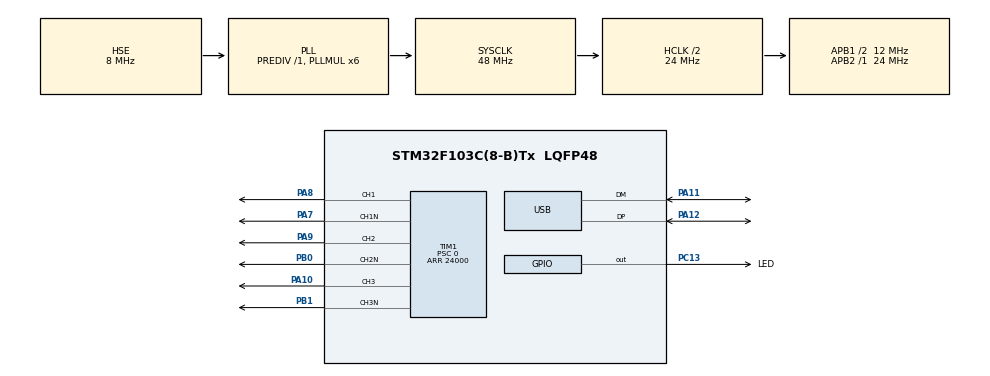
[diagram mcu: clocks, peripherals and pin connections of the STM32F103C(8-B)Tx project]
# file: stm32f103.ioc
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Mcu.Family=STM32F1
Mcu.Name=STM32F103C(8-B)Tx
Mcu.Package=LQFP48
NVIC.PriorityGroup=NVIC_PRIORITYGROUP_4
NVIC.USB_LP_CAN1_RX0_IRQn=true\:0\:0\:false\:false\:true\:false\:true
PA10.GPIO_Speed=GPIO_SPEED_FREQ_HIGH
PA10.Signal=S_TIM1_CH3
PA11.Mode=Device
PA11.Signal=USB_DM
PA12.Mode=Device
PA12.Signal=USB_DP
PA13.Mode=Serial_Wire
PA13.Signal=SYS_JTMS-SWDIO
PA14.Mode=Serial_Wire
PA14.Signal=SYS_JTCK-SWCLK
PA7.GPIO_Speed=GPIO_SPEED_FREQ_HIGH
PA7.Mode=PWM Generation1 CH1 CH1N
PA7.Signal=TIM1_CH1N
PA8.GPIO_Speed=GPIO_SPEED_FREQ_HIGH
PA8.Signal=S_TIM1_CH1
PA9.GPIO_Speed=GPIO_SPEED_FREQ_HIGH
PA9.Signal=S_TIM1_CH2
PB0.GPIO_Speed=GPIO_SPEED_FREQ_HIGH
PB0.Mode=PWM Generation2 CH2 CH2N
PB0.Signal=TIM1_CH2N
PB1.GPIO_Speed=GPIO_SPEED_FREQ_HIGH
PB1.Mode=PWM Generation3 CH3 CH3N
PB1.Signal=TIM1_CH3N
PC13-TAMPER-RTC.GPIO_Label=LED
PC13-TAMPER-RTC.GPIO_ModeDefaultOutputPP=GPIO_MODE_OUTPUT_PP
PC13-TAMPER-RTC.GPIO_PuPd=GPIO_NOPULL
PC13-TAMPER-RTC.GPIO_Speed=GPIO_SPEED_FREQ_LOW
PC13-TAMPER-RTC.PinState=GPIO_PIN_RESET
PC13-TAMPER-RTC.Signal=GPIO_Output
PD0-OSC_IN.Mode=HSE-External-Oscillator
PD0-OSC_IN.Signal=RCC_OSC_IN
PD1-OSC_OUT.Mode=HSE-External-Oscillator
PD1-OSC_OUT.Signal=RCC_OSC_OUT
ProjectManager.HeapSize=0x1000
ProjectManager.StackSize=0x1000
ProjectManager.TargetToolchain=STM32CubeIDE
RCC.AHBCLKDivider=RCC_SYSCLK_DIV2
RCC.AHBFreq_Value=24000000
RCC.APB1CLKDivider=RCC_HCLK_DIV2
RCC.APB1Freq_Value=12000000
RCC.APB1TimFreq_Value=24000000
RCC.APB2Freq_Value=24000000
RCC.APB2TimFreq_Value=24000000
RCC.HCLKFreq_Value=24000000
RCC.PLLMUL=RCC_PLL_MUL6
RCC.SYSCLKFreq_VALUE=48000000
RCC.SYSCLKSource=RCC_SYSCLKSOURCE_PLLCLK
RCC.USBFreq_Value=48000000
SH.S_TIM1_CH1.0=TIM1_CH1,PWM Generation1 CH1 CH1N
SH.S_TIM1_CH2.0=TIM1_CH2,PWM Generation2 CH2 CH2N
SH.S_TIM1_CH3.0=TIM1_CH3,PWM Generation3 CH3 CH3N
TIM1.AutoReloadPreload=TIM_AUTORELOAD_PRELOAD_ENABLE
TIM1.Channel-PWM\ Generation1\ CH1\ CH1N=TIM_CHANNEL_1
TIM1.Channel-PWM\ Generation2\ CH2\ CH2N=TIM_CHANNEL_2
TIM1.Channel-PWM\ Generation3\ CH3\ CH3N=TIM_CHANNEL_3
TIM1.OCFastMode_PWM-PWM\ Generation3\ CH3\ CH3N=TIM_OCFAST_DISABLE
TIM1.OCMode_PWM-PWM\ Generation2\ CH2\ CH2N=TIM_OCMODE_PWM1
TIM1.Period=24000
TIM1.Prescaler=0
TIM1.Pulse-PWM\ Generation1\ CH1\ CH1N=8000
TIM1.Pulse-PWM\ Generation2\ CH2\ CH2N=8000
TIM1.Pulse-PWM\ Generation3\ CH3\ CH3N=8000
USB_DEVICE.CLASS_NAME_FS=CUSTOM_HID
USB_DEVICE.MANUFACTURER_STRING=Alex Hwan XU
USB_DEVICE.PID_CUSTOMHID_FS=0xFFFF
USB_DEVICE.USBD_CUSTOMHID_OUTREPORT_BUF_SIZE=64
USB_DEVICE.USBD_CUSTOM_HID_REPORT_DESC_SIZE=64
USB_DEVICE.VID=0xFFFF
USB_DEVICE.VirtualMode=CustomHid
USB_DEVICE.VirtualModeFS=Custom_Hid_FS
VP_TIM1_VS_ClockSourceINT.Mode=Internal
VP_USB_DEVICE_VS_USB_DEVICE_CUSTOM_HID_FS.Mode=CUSTOM_HID_FS
board=custom

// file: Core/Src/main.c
/* USER CODE BEGIN Header */
/**
  ******************************************************************************
  * @file           : main.c
  * @brief          : Main program body
  ******************************************************************************
  * @attention
  *
  * <h2><center>&copy; Copyright (c) 2020 STMicroelectronics.
  * All rights reserved.</center></h2>
  *
  * This software component is licensed by ST under BSD 3-Clause license,
  * the "License"; You may not use this file except in compliance with the
  * License. You may obtain a copy of the License at:
  *                        opensource.org/licenses/BSD-3-Clause
  *
  ******************************************************************************
  */
/* USER CODE END Header */
#include "main.h"
#include "usb_device.h"

/* USER CODE BEGIN Includes */
#include "usbd_customhid.h"

/* USER CODE END Includes */

/* USER CODE BEGIN PD */
#define CMD_IDLE		0
#define CMD_PWM_CFG		1
#define CMD_GET_CFG		2
#define CMD_BEEP		3
#define CMD_USB_RX		4

#define SYS_FREQ	24000000ul

/* USER CODE END PD */

TIM_HandleTypeDef htim1;

/* USER CODE BEGIN PV */
extern USBD_HandleTypeDef hUsbDeviceFS;
uint8_t usb_tx_buf[64] =
		{ 1, 2, 3, 4, 5, 6, 7, 8, 9, 10, 11, 12, 13, 14, 15, 16 };
uint8_t usb_rx_buf[64] = { 0 };//data format: length[1]+cmd[1]+channel[1]+freq[4]+duty[2]+state[1]
uint8_t usb_rx_len = 0;
uint8_t cmd = CMD_IDLE;
uint32_t freq=1000;//Hz
uint16_t duty[3]={3333,5000,6667};//x100%
uint8_t channel=0;
uint8_t state[3]={DISABLE,DISABLE,DISABLE};

/* USER CODE END PV */

void SystemClock_Config(void);
static void MX_GPIO_Init(void);
static void MX_TIM1_Init(void);

/* USER CODE BEGIN 0 */
void pwm_config(uint8_t channel, uint32_t freq,uint16_t duty, uint8_t state)
{
	TIM_OC_InitTypeDef sConfigOC = {0};

	uint8_t psc = (SYS_FREQ/freq)>>16;

	htim1.Instance = TIM1;
	htim1.Init.Prescaler = psc;
	htim1.Init.CounterMode = TIM_COUNTERMODE_UP;
	htim1.Init.Period = SYS_FREQ/((htim1.Init.Prescaler+1)*freq);
	htim1.Init.ClockDivision = TIM_CLOCKDIVISION_DIV1;
	htim1.Init.RepetitionCounter = 0;
	htim1.Init.AutoReloadPreload = TIM_AUTORELOAD_PRELOAD_ENABLE;
	htim1.State=state;
	HAL_TIM_PWM_Init(&htim1);

	sConfigOC.OCMode = TIM_OCMODE_PWM1;
	sConfigOC.Pulse = htim1.Init.Period*duty/10000;
	sConfigOC.OCPolarity = TIM_OCPOLARITY_HIGH;
	sConfigOC.OCNPolarity = TIM_OCNPOLARITY_HIGH;
	sConfigOC.OCFastMode = TIM_OCFAST_DISABLE;
	sConfigOC.OCIdleState = TIM_OCIDLESTATE_RESET;
	sConfigOC.OCNIdleState = TIM_OCNIDLESTATE_RESET;

	uint32_t ch=(channel==0)?0:(channel<<2);
	HAL_TIM_PWM_ConfigChannel(&htim1, &sConfigOC, ch);
	if(state == ENABLE)
	{
		HAL_TIM_PWM_Start(&htim1,ch);
		HAL_TIMEx_PWMN_Start(&htim1,ch);
	}
	else
	{
		HAL_TIM_PWM_Stop(&htim1,ch);
		HAL_TIMEx_PWMN_Stop(&htim1,ch);
	}
}

/* USER CODE END 0 */

int main(void)
{

  /* MCU Configuration--------------------------------------------------------*/

  /* Reset of all peripherals, Initializes the Flash interface and the Systick. */
  HAL_Init();

  /* Configure the system clock */
  SystemClock_Config();

  /* Initialize all configured peripherals */
  MX_GPIO_Init();
  MX_TIM1_Init();
  MX_USB_DEVICE_Init();
  /* USER CODE BEGIN 2 */
  for(uint8_t i=0;i<3;i++)
	  pwm_config(i,freq,duty[i],ENABLE);
  /* USER CODE END 2 */

  /* Infinite loop */
  while (1)
  {

    /* USER CODE BEGIN 3 */
	  switch(cmd)
	  {
	  case CMD_IDLE:
		  if(usb_rx_len>0)
		  {
			  cmd=usb_rx_buf[1];
			  usb_rx_len=0;
			  continue;
		  }
		  HAL_GPIO_TogglePin(GPIOC, LED_Pin);
		  usb_tx_buf[0]=0x01;
		  usb_tx_buf[1]=0x55;
		  USBD_CUSTOM_HID_SendReport(&hUsbDeviceFS, usb_tx_buf, 64);//heart beat*/
		  HAL_Delay(1000);
		  break;
	  case CMD_PWM_CFG:
		  channel=usb_rx_buf[2]-1;
		  freq=*(uint32_t*)(usb_rx_buf+3);
		  duty[channel]=*(uint16_t*)(usb_rx_buf+7);
		  state[channel]=usb_rx_buf[9];
		  pwm_config(channel,freq,duty[channel],state[channel]);
		  cmd=CMD_IDLE;
		  break;
	  case CMD_GET_CFG:
		  cmd=CMD_IDLE;
		  break;
	  default :
		  cmd=CMD_IDLE;
		  break;
	  }
  }
  /* USER CODE END 3 */
}

void SystemClock_Config(void)
{
  RCC_OscInitTypeDef RCC_OscInitStruct = {0};
  RCC_ClkInitTypeDef RCC_ClkInitStruct = {0};
  RCC_PeriphCLKInitTypeDef PeriphClkInit = {0};

  /** Initializes the RCC Oscillators according to the specified parameters
  * in the RCC_OscInitTypeDef structure.
  */
  RCC_OscInitStruct.OscillatorType = RCC_OSCILLATORTYPE_HSE;
  RCC_OscInitStruct.HSEState = RCC_HSE_ON;
  RCC_OscInitStruct.HSEPredivValue = RCC_HSE_PREDIV_DIV1;
  RCC_OscInitStruct.HSIState = RCC_HSI_ON;
  RCC_OscInitStruct.PLL.PLLState = RCC_PLL_ON;
  RCC_OscInitStruct.PLL.PLLSource = RCC_PLLSOURCE_HSE;
  RCC_OscInitStruct.PLL.PLLMUL = RCC_PLL_MUL6;
  if (HAL_RCC_OscConfig(&RCC_OscInitStruct) != HAL_OK)
  {
    Error_Handler();
  }
  /** Initializes the CPU, AHB and APB buses clocks
  */
  RCC_ClkInitStruct.ClockType = RCC_CLOCKTYPE_HCLK|RCC_CLOCKTYPE_SYSCLK
                              |RCC_CLOCKTYPE_PCLK1|RCC_CLOCKTYPE_PCLK2;
  RCC_ClkInitStruct.SYSCLKSource = RCC_SYSCLKSOURCE_PLLCLK;
  RCC_ClkInitStruct.AHBCLKDivider = RCC_SYSCLK_DIV2;
  RCC_ClkInitStruct.APB1CLKDivider = RCC_HCLK_DIV2;
  RCC_ClkInitStruct.APB2CLKDivider = RCC_HCLK_DIV1;

  if (HAL_RCC_ClockConfig(&RCC_ClkInitStruct, FLASH_LATENCY_1) != HAL_OK)
  {
    Error_Handler();
  }
  PeriphClkInit.PeriphClockSelection = RCC_PERIPHCLK_USB;
  PeriphClkInit.UsbClockSelection = RCC_USBCLKSOURCE_PLL;
  if (HAL_RCCEx_PeriphCLKConfig(&PeriphClkInit) != HAL_OK)
  {
    Error_Handler();
  }
}

static void MX_TIM1_Init(void)
{

  TIM_ClockConfigTypeDef sClockSourceConfig = {0};
  TIM_MasterConfigTypeDef sMasterConfig = {0};
  TIM_OC_InitTypeDef sConfigOC = {0};
  TIM_BreakDeadTimeConfigTypeDef sBreakDeadTimeConfig = {0};

  htim1.Instance = TIM1;
  htim1.Init.Prescaler = 0;
  htim1.Init.CounterMode = TIM_COUNTERMODE_UP;
  htim1.Init.Period = 24000;
  htim1.Init.ClockDivision = TIM_CLOCKDIVISION_DIV1;
  htim1.Init.RepetitionCounter = 0;
  htim1.Init.AutoReloadPreload = TIM_AUTORELOAD_PRELOAD_ENABLE;
  if (HAL_TIM_Base_Init(&htim1) != HAL_OK)
  {
    Error_Handler();
  }
  sClockSourceConfig.ClockSource = TIM_CLOCKSOURCE_INTERNAL;
  if (HAL_TIM_ConfigClockSource(&htim1, &sClockSourceConfig) != HAL_OK)
  {
    Error_Handler();
  }
  if (HAL_TIM_PWM_Init(&htim1) != HAL_OK)
  {
    Error_Handler();
  }
  sMasterConfig.MasterOutputTrigger = TIM_TRGO_RESET;
  sMasterConfig.MasterSlaveMode = TIM_MASTERSLAVEMODE_DISABLE;
  if (HAL_TIMEx_MasterConfigSynchronization(&htim1, &sMasterConfig) != HAL_OK)
  {
    Error_Handler();
  }
  sConfigOC.OCMode = TIM_OCMODE_PWM1;
  sConfigOC.Pulse = 8000;
  sConfigOC.OCPolarity = TIM_OCPOLARITY_HIGH;
  sConfigOC.OCNPolarity = TIM_OCNPOLARITY_HIGH;
  sConfigOC.OCFastMode = TIM_OCFAST_DISABLE;
  sConfigOC.OCIdleState = TIM_OCIDLESTATE_RESET;
  sConfigOC.OCNIdleState = TIM_OCNIDLESTATE_RESET;
  if (HAL_TIM_PWM_ConfigChannel(&htim1, &sConfigOC, TIM_CHANNEL_1) != HAL_OK)
  {
    Error_Handler();
  }
  if (HAL_TIM_PWM_ConfigChannel(&htim1, &sConfigOC, TIM_CHANNEL_2) != HAL_OK)
  {
    Error_Handler();
  }
  if (HAL_TIM_PWM_ConfigChannel(&htim1, &sConfigOC, TIM_CHANNEL_3) != HAL_OK)
  {
    Error_Handler();
  }
  sBreakDeadTimeConfig.OffStateRunMode = TIM_OSSR_DISABLE;
  sBreakDeadTimeConfig.OffStateIDLEMode = TIM_OSSI_DISABLE;
  sBreakDeadTimeConfig.LockLevel = TIM_LOCKLEVEL_OFF;
  sBreakDeadTimeConfig.DeadTime = 0;
  sBreakDeadTimeConfig.BreakState = TIM_BREAK_DISABLE;
  sBreakDeadTimeConfig.BreakPolarity = TIM_BREAKPOLARITY_HIGH;
  sBreakDeadTimeConfig.AutomaticOutput = TIM_AUTOMATICOUTPUT_DISABLE;
  if (HAL_TIMEx_ConfigBreakDeadTime(&htim1, &sBreakDeadTimeConfig) != HAL_OK)
  {
    Error_Handler();
  }
  HAL_TIM_MspPostInit(&htim1);

}

static void MX_GPIO_Init(void)
{
  GPIO_InitTypeDef GPIO_InitStruct = {0};

  /* GPIO Ports Clock Enable */
  __HAL_RCC_GPIOC_CLK_ENABLE();
  __HAL_RCC_GPIOD_CLK_ENABLE();
  __HAL_RCC_GPIOA_CLK_ENABLE();
  __HAL_RCC_GPIOB_CLK_ENABLE();

  /*Configure GPIO pin Output Level */
  HAL_GPIO_WritePin(LED_GPIO_Port, LED_Pin, GPIO_PIN_RESET);

  /*Configure GPIO pin : LED_Pin */
  GPIO_InitStruct.Pin = LED_Pin;
  GPIO_InitStruct.Mode = GPIO_MODE_OUTPUT_PP;
  GPIO_InitStruct.Pull = GPIO_NOPULL;
  GPIO_InitStruct.Speed = GPIO_SPEED_FREQ_LOW;
  HAL_GPIO_Init(LED_GPIO_Port, &GPIO_InitStruct);

}

void Error_Handler(void)
{
}

/************************ (C) COPYRIGHT STMicroelectronics *****END OF FILE****/
